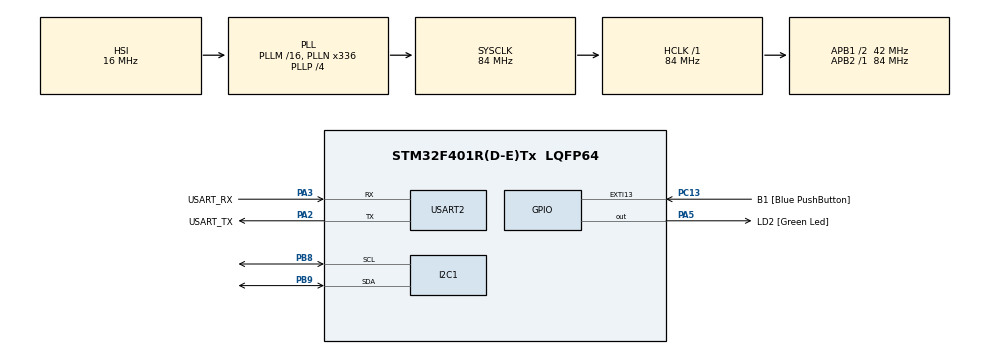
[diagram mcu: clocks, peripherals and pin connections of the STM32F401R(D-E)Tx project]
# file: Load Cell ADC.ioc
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I2C1.I2C_Mode=I2C_Standard
Mcu.Family=STM32F4
Mcu.Name=STM32F401R(D-E)Tx
Mcu.Package=LQFP64
NVIC.PriorityGroup=NVIC_PRIORITYGROUP_0
PA13.GPIO_Label=TMS
PA13.Mode=Serial_Wire
PA13.Signal=SYS_JTMS-SWDIO
PA14.GPIO_Label=TCK
PA14.Mode=Serial_Wire
PA14.Signal=SYS_JTCK-SWCLK
PA2.GPIO_Label=USART_TX
PA2.GPIO_Mode=GPIO_MODE_AF_PP
PA2.GPIO_PuPd=GPIO_NOPULL
PA2.GPIO_Speed=GPIO_SPEED_FREQ_LOW
PA2.Mode=Asynchronous
PA2.Signal=USART2_TX
PA3.GPIO_Label=USART_RX
PA3.GPIO_Mode=GPIO_MODE_AF_PP
PA3.GPIO_PuPd=GPIO_NOPULL
PA3.GPIO_Speed=GPIO_SPEED_FREQ_LOW
PA3.Mode=Asynchronous
PA3.Signal=USART2_RX
PA5.GPIO_Label=LD2 [Green Led]
PA5.GPIO_Mode=GPIO_MODE_OUTPUT_PP
PA5.GPIO_PuPd=GPIO_NOPULL
PA5.GPIO_Speed=GPIO_SPEED_FREQ_LOW
PA5.Signal=GPIO_Output
PB3.GPIO_Label=SWO
PB3.Signal=SYS_JTDO-SWO
PB8.Mode=I2C
PB8.Signal=I2C1_SCL
PB9.Mode=I2C
PB9.Signal=I2C1_SDA
PC13-ANTI_TAMP.GPIO_Label=B1 [Blue PushButton]
PC13-ANTI_TAMP.GPIO_ModeDefaultEXTI=GPIO_MODE_IT_FALLING
PC13-ANTI_TAMP.GPIO_PuPd=GPIO_NOPULL
PC13-ANTI_TAMP.Signal=GPXTI13
PC14-OSC32_IN.Mode=LSE-External-Oscillator
PC14-OSC32_IN.Signal=RCC_OSC32_IN
PC15-OSC32_OUT.Mode=LSE-External-Oscillator
PC15-OSC32_OUT.Signal=RCC_OSC32_OUT
PH0\ -\ OSC_IN.Mode=HSE-External-Clock-Source
PH0\ -\ OSC_IN.Signal=RCC_OSC_IN
PH1\ -\ OSC_OUT.Mode=HSE-External-Clock-Source
PH1\ -\ OSC_OUT.Signal=RCC_OSC_OUT
ProjectManager.HeapSize=0x200
ProjectManager.StackSize=0x400
ProjectManager.TargetToolchain=STM32CubeIDE
RCC.48MHZClocksFreq_Value=48000000
RCC.AHBFreq_Value=84000000
RCC.APB1CLKDivider=RCC_HCLK_DIV2
RCC.APB1Freq_Value=42000000
RCC.APB1TimFreq_Value=84000000
RCC.APB2Freq_Value=84000000
RCC.APB2TimFreq_Value=84000000
RCC.CortexFreq_Value=84000000
RCC.HCLKFreq_Value=84000000
RCC.HSE_VALUE=8000000
RCC.HSI_VALUE=16000000
RCC.PLLN=336
RCC.PLLP=RCC_PLLP_DIV4
RCC.PLLQ=7
RCC.SYSCLKFreq_VALUE=84000000
RCC.SYSCLKSource=RCC_SYSCLKSOURCE_PLLCLK
RCC.VCOOutputFreq_Value=336000000
USART2.VirtualMode=VM_ASYNC
board=NUCLEO-F401RE

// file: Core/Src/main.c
/* USER CODE BEGIN Header */
/**
  ******************************************************************************
  * @file           : main.c
  * @brief          : Main program body
  ******************************************************************************
  * @attention
  *
  * Copyright (c) 2024 STMicroelectronics.
  * All rights reserved.
  *
  * This software is licensed under terms that can be found in the LICENSE file
  * in the root directory of this software component.
  * If no LICENSE file comes with this software, it is provided AS-IS.
  *
  ******************************************************************************
  */
/* USER CODE END Header */
#include "main.h"
#include <stdbool.h>
#include <stdio.h>

/* USER CODE BEGIN PD */
#define ADS1219_ADDR 0x45 << 1

#define ADS1219_RDATA 0x10
#define ADS1219_WREG 0x40
#define ADS1219_STARTSYNC 0x08

/* USER CODE END PD */

I2C_HandleTypeDef hi2c1;

UART_HandleTypeDef huart2;

void SystemClock_Config(void);
static void MX_GPIO_Init(void);
static void MX_USART2_UART_Init(void);
static void MX_I2C1_Init(void);

/* USER CODE BEGIN 0 */
// Redirecting the printf function to print to the console (over UART2)
int _write(int file, char *data, int len) {
    // Redirect printf to UART
    HAL_UART_Transmit(&huart2, (uint8_t*)data, len, HAL_MAX_DELAY);
    return len;
}
/* USER CODE END 0 */

int main(void)
{

  /* MCU Configuration--------------------------------------------------------*/

  /* Reset of all peripherals, Initializes the Flash interface and the Systick. */
  HAL_Init();

  /* Configure the system clock */
  SystemClock_Config();

  /* Initialize all configured peripherals */
  MX_GPIO_Init();
  MX_USART2_UART_Init();
  MX_I2C1_Init();
  /* USER CODE BEGIN 2 */
  // Buffers for TX/RX data of I2C bus
  uint8_t txData[3] = {0};
  uint8_t rxData[3] = {0};

  // Variables and arrays for storing load cell readings
  int32_t rawLoadCell1 = 0;
  int32_t rawLoadCell2 = 0;

//  int32_t LoadCell1_Offset = 13128;
  int32_t LoadCell1_Offset = 11140;
//  int32_t LoadCell2_OffsetA = 16764472;
//  int32_t LoadCell2_OffsetB = -12744;
  int32_t LoadCell2_OffsetA = 16766245;
  int32_t LoadCell2_OffsetB = 16766245;

  int32_t rawData1[25] = {0};
  int32_t rawData2[25] = {0};
  int32_t avg1 = 0;
  int32_t avg2 = 0;

  float volts = 0;
  float kilograms = 0;
  float lsbToKg = 0.000256;

  // Configure the ADS1219 to do continuous conversion, start with AIN0/1 load cell, use internal 2.048V reference and 90 SPS data rate
  txData[0] = ADS1219_WREG;
  txData[1] = 0x16;
  HAL_I2C_Master_Transmit(&hi2c1, ADS1219_ADDR, txData, 2, HAL_MAX_DELAY);

  // Send the START/SYNC command to start continuous conversions
  txData[0] = ADS1219_STARTSYNC;
  HAL_I2C_Master_Transmit(&hi2c1, ADS1219_ADDR, txData, 1, HAL_MAX_DELAY);

  // Average 100 measurements to get the offset for each load cell
  for (int i = 0; i < 100; i++) {
	  // Configure ADS1219 MUX to measure AIN0/1 load cell
	  txData[0] = ADS1219_WREG;
	  txData[1] = 0x16;
	  HAL_I2C_Master_Transmit(&hi2c1, ADS1219_ADDR, txData, 2, HAL_MAX_DELAY);
	  // Wait a bit to take the measurements
	  HAL_Delay(20);
	  // Read the measurement and store it
	  txData[0] = ADS1219_RDATA;
	  HAL_I2C_Master_Transmit(&hi2c1, ADS1219_ADDR, txData, 1, HAL_MAX_DELAY);
	  rxData[0] = 0x00;
	  rxData[1] = 0x00;
	  rxData[2] = 0x00;
	  HAL_I2C_Master_Receive(&hi2c1, ADS1219_ADDR, rxData, 3, HAL_MAX_DELAY);
	  rawLoadCell1 = (rxData[0] << 16) | (rxData[1] << 8) | rxData[2];
	  avg1 += rawLoadCell1;
//		  printf("%ld\r\n", rawLoadCell1);

	  // Configure ADS1115 MUX to measure AIN2/3 load cell
	  txData[0] = ADS1219_WREG;
	  txData[1] = 0x36;
	  HAL_I2C_Master_Transmit(&hi2c1, ADS1219_ADDR, txData, 2, HAL_MAX_DELAY);
	  // Wait a bit to take the measurements
	  HAL_Delay(20);
	  // Read the measurement and store it
	  txData[0] = ADS1219_RDATA;
	  HAL_I2C_Master_Transmit(&hi2c1, ADS1219_ADDR, txData, 1, HAL_MAX_DELAY);
	  rxData[0] = 0x00;
	  rxData[1] = 0x00;
	  rxData[2] = 0x00;
	  HAL_I2C_Master_Receive(&hi2c1, ADS1219_ADDR, rxData, 3, HAL_MAX_DELAY);
	  rawLoadCell2 = (rxData[0] << 16) | (rxData[1] << 8) | rxData[2];
	  avg2 += rawLoadCell2;
  }

  avg1 = avg1/100;
  avg2 = avg2/100;
  LoadCell1_Offset = avg1;
  LoadCell2_OffsetA = avg2;
  LoadCell2_OffsetB = avg2;

  /* USER CODE END 2 */

  /* Infinite loop */
  /* USER CODE BEGIN WHILE */
  while (1)
  {
	  // Wait 100ms between starting new measurements
//	  HAL_Delay(100);

	  // Average 25 measurements (over approx. 1 second) to get the reading from each load cell.
	  for (int i = 0; i < 25; i++) {
		  // Configure ADS1219 MUX to measure AIN0/1 load cell
		  txData[0] = ADS1219_WREG;
		  txData[1] = 0x16;
		  HAL_I2C_Master_Transmit(&hi2c1, ADS1219_ADDR, txData, 2, HAL_MAX_DELAY);
		  // Wait a bit to take the measurements
		  HAL_Delay(20);
		  // Read the measurement and store it
		  txData[0] = ADS1219_RDATA;
		  HAL_I2C_Master_Transmit(&hi2c1, ADS1219_ADDR, txData, 1, HAL_MAX_DELAY);
		  rxData[0] = 0x00;
		  rxData[1] = 0x00;
		  rxData[2] = 0x00;
		  HAL_I2C_Master_Receive(&hi2c1, ADS1219_ADDR, rxData, 3, HAL_MAX_DELAY);
		  rawLoadCell1 = (rxData[0] << 16) | (rxData[1] << 8) | rxData[2];
		  rawData1[i] = rawLoadCell1 - LoadCell1_Offset;
//		  printf("%ld\r\n", rawLoadCell1);

		  // Configure ADS1115 MUX to measure AIN2/3 load cell
		  txData[0] = ADS1219_WREG;
		  txData[1] = 0x36;
		  HAL_I2C_Master_Transmit(&hi2c1, ADS1219_ADDR, txData, 2, HAL_MAX_DELAY);
		  // Wait a bit to take the measurements
		  HAL_Delay(20);
		  // Read the measurement and store it
		  txData[0] = ADS1219_RDATA;
		  HAL_I2C_Master_Transmit(&hi2c1, ADS1219_ADDR, txData, 1, HAL_MAX_DELAY);
		  rxData[0] = 0x00;
		  rxData[1] = 0x00;
		  rxData[2] = 0x00;
		  HAL_I2C_Master_Receive(&hi2c1, ADS1219_ADDR, rxData, 3, HAL_MAX_DELAY);
		  rawLoadCell2 = (rxData[0] << 16) | (rxData[1] << 8) | rxData[2];
		  // Applying offset on load cell B based on if it overflowed or not
		  if (rawLoadCell2 > 16700000) rawData2[i] = rawLoadCell2 - LoadCell2_OffsetA;
		  else rawData2[i] = rawLoadCell2 - LoadCell2_OffsetB;
//		  printf("%ld\r\n", rawData2[i]);
	  }
	  avg1 = 0;
	  avg2 = 0;
	  for (int i = 0; i < 25; i++) {
		  avg1 += rawData1[i];
		  avg2 += rawData2[i];
	  }
	  avg1 = avg1/25; // Load cell A is mounted in opposite direction, so sign is flipped to get the same sign when summing both
	  avg2 = avg2/-25;

	  // Printing the voltage to the console
	  kilograms = rawLoadCell1 * 2.048 * 20.0 * 32 / 8388608.0;
	  printf("Load cell A: %ld counts / %.7f mV \r\n", (avg1), ((avg1)*0.512 / 8388608.0));

	  kilograms = rawLoadCell2 * 2.048 * 20.0 * 32 / 8388608.0;
	  printf("Load cell B: %ld counts / %.7f mV \r\n", (avg2), ((avg2)*0.512 / 8388608.0));
//	  printf("Scale measurement: %ld counts / %.7f mV \r\n\n", (avg1 + avg2), ((avg1 + avg2)*0.512 / 8388608.0));
	  printf("Scale measurement: %ld counts / %.5f kg \r\n\n", (avg1 + avg2), ((avg1 + avg2)*lsbToKg));

    /* USER CODE END WHILE */

  }
}

void SystemClock_Config(void)
{
  RCC_OscInitTypeDef RCC_OscInitStruct = {0};
  RCC_ClkInitTypeDef RCC_ClkInitStruct = {0};

  /** Configure the main internal regulator output voltage
  */
  __HAL_RCC_PWR_CLK_ENABLE();
  __HAL_PWR_VOLTAGESCALING_CONFIG(PWR_REGULATOR_VOLTAGE_SCALE2);

  /** Initializes the RCC Oscillators according to the specified parameters
  * in the RCC_OscInitTypeDef structure.
  */
  RCC_OscInitStruct.OscillatorType = RCC_OSCILLATORTYPE_HSI;
  RCC_OscInitStruct.HSIState = RCC_HSI_ON;
  RCC_OscInitStruct.HSICalibrationValue = RCC_HSICALIBRATION_DEFAULT;
  RCC_OscInitStruct.PLL.PLLState = RCC_PLL_ON;
  RCC_OscInitStruct.PLL.PLLSource = RCC_PLLSOURCE_HSI;
  RCC_OscInitStruct.PLL.PLLM = 16;
  RCC_OscInitStruct.PLL.PLLN = 336;
  RCC_OscInitStruct.PLL.PLLP = RCC_PLLP_DIV4;
  RCC_OscInitStruct.PLL.PLLQ = 7;
  if (HAL_RCC_OscConfig(&RCC_OscInitStruct) != HAL_OK)
  {
    Error_Handler();
  }

  /** Initializes the CPU, AHB and APB buses clocks
  */
  RCC_ClkInitStruct.ClockType = RCC_CLOCKTYPE_HCLK|RCC_CLOCKTYPE_SYSCLK
                              |RCC_CLOCKTYPE_PCLK1|RCC_CLOCKTYPE_PCLK2;
  RCC_ClkInitStruct.SYSCLKSource = RCC_SYSCLKSOURCE_PLLCLK;
  RCC_ClkInitStruct.AHBCLKDivider = RCC_SYSCLK_DIV1;
  RCC_ClkInitStruct.APB1CLKDivider = RCC_HCLK_DIV2;
  RCC_ClkInitStruct.APB2CLKDivider = RCC_HCLK_DIV1;

  if (HAL_RCC_ClockConfig(&RCC_ClkInitStruct, FLASH_LATENCY_2) != HAL_OK)
  {
    Error_Handler();
  }
}

static void MX_I2C1_Init(void)
{

  hi2c1.Instance = I2C1;
  hi2c1.Init.ClockSpeed = 100000;
  hi2c1.Init.DutyCycle = I2C_DUTYCYCLE_2;
  hi2c1.Init.OwnAddress1 = 0;
  hi2c1.Init.AddressingMode = I2C_ADDRESSINGMODE_7BIT;
  hi2c1.Init.DualAddressMode = I2C_DUALADDRESS_DISABLE;
  hi2c1.Init.OwnAddress2 = 0;
  hi2c1.Init.GeneralCallMode = I2C_GENERALCALL_DISABLE;
  hi2c1.Init.NoStretchMode = I2C_NOSTRETCH_DISABLE;
  if (HAL_I2C_Init(&hi2c1) != HAL_OK)
  {
    Error_Handler();
  }

}

static void MX_USART2_UART_Init(void)
{

  huart2.Instance = USART2;
  huart2.Init.BaudRate = 115200;
  huart2.Init.WordLength = UART_WORDLENGTH_8B;
  huart2.Init.StopBits = UART_STOPBITS_1;
  huart2.Init.Parity = UART_PARITY_NONE;
  huart2.Init.Mode = UART_MODE_TX_RX;
  huart2.Init.HwFlowCtl = UART_HWCONTROL_NONE;
  huart2.Init.OverSampling = UART_OVERSAMPLING_16;
  if (HAL_UART_Init(&huart2) != HAL_OK)
  {
    Error_Handler();
  }

}

static void MX_GPIO_Init(void)
{
  GPIO_InitTypeDef GPIO_InitStruct = {0};

  /* GPIO Ports Clock Enable */
  __HAL_RCC_GPIOC_CLK_ENABLE();
  __HAL_RCC_GPIOH_CLK_ENABLE();
  __HAL_RCC_GPIOA_CLK_ENABLE();
  __HAL_RCC_GPIOB_CLK_ENABLE();

  /*Configure GPIO pin Output Level */
  HAL_GPIO_WritePin(LD2_GPIO_Port, LD2_Pin, GPIO_PIN_RESET);

  /*Configure GPIO pin : B1_Pin */
  GPIO_InitStruct.Pin = B1_Pin;
  GPIO_InitStruct.Mode = GPIO_MODE_IT_FALLING;
  GPIO_InitStruct.Pull = GPIO_NOPULL;
  HAL_GPIO_Init(B1_GPIO_Port, &GPIO_InitStruct);

  /*Configure GPIO pin : LD2_Pin */
  GPIO_InitStruct.Pin = LD2_Pin;
  GPIO_InitStruct.Mode = GPIO_MODE_OUTPUT_PP;
  GPIO_InitStruct.Pull = GPIO_NOPULL;
  GPIO_InitStruct.Speed = GPIO_SPEED_FREQ_LOW;
  HAL_GPIO_Init(LD2_GPIO_Port, &GPIO_InitStruct);

}

void Error_Handler(void)
{
  __disable_irq();
  while (1)
  {
  }
}
